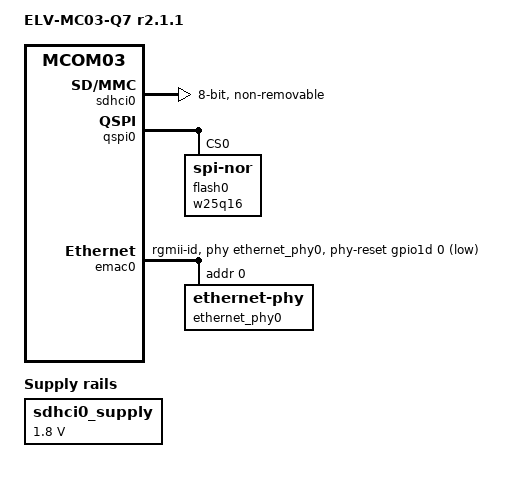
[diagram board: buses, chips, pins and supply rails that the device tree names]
// SPDX-License-Identifier: GPL-2.0+
/*
 * Copyright 2023 RnD Center "ELVEES", JSC
 */

/dts-v1/;

#include <dt-bindings/gpio/gpio.h>

#include "mcom03.dtsi"

/ {
	model = "ELV-MC03-Q7 r2.1.1";
	compatible = "elvees,elvmc03q7-r2.1.1",
		     "elvees,elvmc03q7",
		     "elvees,mcom03";

	sdhci0_supply: regulator@0 {
		compatible = "regulator-fixed";
		regulator-name = "sdhci0-supply";
		regulator-min-microvolt = <1800000>;
		regulator-max-microvolt = <1800000>;
		regulator-always-on;
	};
};

/* Connected to eMMC */
&sdhci0 {
	status = "okay";

	non-removable;
	bus-width = <8>;

	vqmmc-supply = <&sdhci0_supply>;
};

&qspi0 {
	status = "okay";

	flash0: w25q16@0 {
		#address-cells = <1>;
		#size-cells = <1>;
		compatible = "jedec,spi-nor", "spi-flash";
		reg = <0x0>;

		spi-tx-bus-width = <4>;
		spi-rx-bus-width = <4>;
	};
};

&emac0 {
	phy-mode = "rgmii-id";
	phy-handle = <&ethernet_phy0>;
	phy-reset-gpios = <&gpio1d 0 GPIO_ACTIVE_LOW>;

	ethernet_phy0: ethernet-phy@0 {
		reg = <0x0>;
		rx-internal-delay-ps = <1800>;
		tx-internal-delay-ps = <1200>;
	};
};
